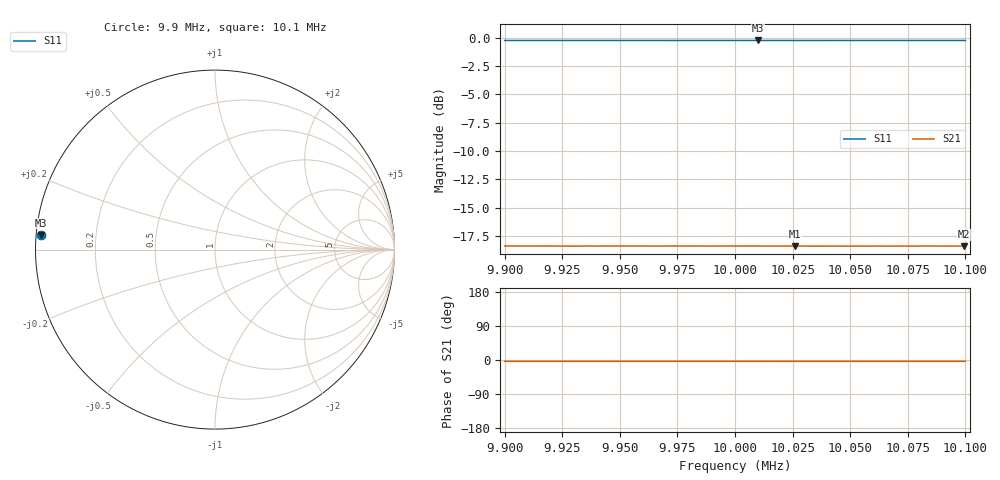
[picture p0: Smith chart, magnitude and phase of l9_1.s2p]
! NanoVNA-App
! Date: 2026-10-13 22:03:42
! Start: 9,9MHz Stop: 10,1MHz Points: 401
! S-Parameter data: F S11 S21 S12 S22
# Hz S RI R 50
!  Frequency  S11_Real  S11_Imag  S21_Real  S21_Imag  S12_Real  S12_Imag  S22_Real  S22_Imag
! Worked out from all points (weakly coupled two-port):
!   401 points, 9.9 MHz to 10.1 MHz, reference 50 ohm
!   highest |S21| = -18.39 dB at 10.026 MHz (marker M1); lowest = -18.4 dB at 10.1 MHz (marker M2)
!   lowest |S11| = -0.2 dB at 10.01 MHz (marker M3), VSWR 76.34, Z = 0.656 + j2.09 ohm
!   |S11| at or under -10 dB: nowhere
!   S12 and S22 are empty: the file has one direction only
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9900000  -0.9711 0.0805  0.1201 -0.00738  0 0  0 0
9933500  -0.9709 0.0807  0.1199 -0.00737  0 0  0 0
9959500  -0.9709 0.0809  0.1201 -0.00742  0 0  0 0
9967000  -0.9709 0.0809  0.1199 -0.00733  0 0  0 0
9980500  -0.9709 0.0809  0.12 -0.00739  0 0  0 0
9982500  -0.9711 0.0809  0.1199 -0.00738  0 0  0 0
1e7  -0.9709 0.0811  0.12 -0.00739  0 0  0 0
1.001e7  -0.9708 0.0812  0.12 -0.00746  0 0  0 0
1.00205e7  -0.9709 0.0813  0.12 -0.00743  0 0  0 0
1.0026e7  -0.971 0.0813  0.1201 -0.00753  0 0  0 0
1.00335e7  -0.9709 0.0814  0.12 -0.00742  0 0  0 0
1.0045e7  -0.9709 0.0815  0.12 -0.00748  0 0  0 0
1.0052e7  -0.971 0.0814  0.1199 -0.00746  0 0  0 0
1.00625e7  -0.9709 0.0817  0.12 -0.00756  0 0  0 0
1.0067e7  -0.9709 0.0817  0.1199 -0.00754  0 0  0 0
1.007e7  -0.9709 0.0817  0.12 -0.00746  0 0  0 0
1.00765e7  -0.9709 0.0818  0.1199 -0.00749  0 0  0 0
1.0083e7  -0.9708 0.0817  0.12 -0.00741  0 0  0 0
1.00845e7  -0.9709 0.0818  0.12 -0.00746  0 0  0 0
1.00975e7  -0.9708 0.0818  0.1199 -0.00754  0 0  0 0
1.00995e7  -0.9709 0.0819  0.1198 -0.00748  0 0  0 0
1.01e7  -0.9709 0.0819  0.1198 -0.00755  0 0  0 0
